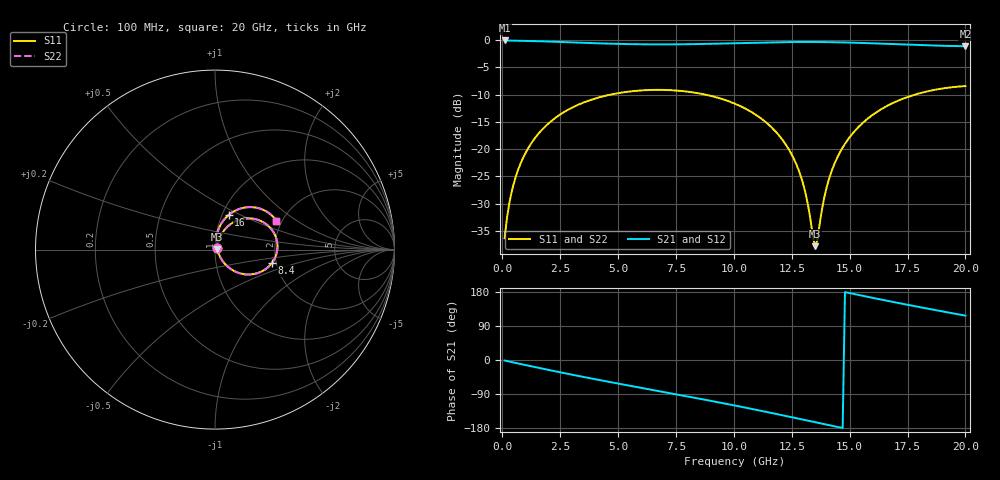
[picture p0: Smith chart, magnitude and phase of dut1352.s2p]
! Touchstone file exported from HFSS 2026.1.0
!  File:  C:/ffzhzh/LocalFiles/Ansys_Project_Files/temp_train_TSV_RDL_1352_1783340956_30076.aedt
!  Generated:  08:37:29 PM Jul  6, 2026
!  Design:  TSV_RDL
!  Project:  temp_train_TSV_RDL_1352_1783340956_30076
! Variables:
!  h_bsmrdl = 5.94um
!  h_ox = 20um
!  h_rdl = 5um
!  h_sub = 76.75um
!  h_tmrdl = 5.81um
!  h_tsv = 76.75um
!  h_via = 3um
!  l_bsmrdl = 138.56um
!  l_sub = 3945.7um
!  l_tmrdl = 751.56um
!  m_sub = 200um
!  pitch = 42.46um
!  r_tsv = 14.39um
!  s_tmrdl = 10um
!  w_bsmrdl = 20.89um
!  w_sub = 500um
!  w_tmrdl = 20.37um
!  x_tsv_center1 = 761.745um
!  x_tsv_center2 = 921.195um
!  x_tsv_center3 = 1693.125um
!  x_tsv_center4 = 1852.575um
!  x_tsv_center5 = 2624.505um
!  x_tsv_center6 = 2783.955um
# GHz S MA R 50.000000
! Terminal data exported
! Port[1] = TM_RDL1_1_T1
! Port[2] = TM_RDL5_1_T1
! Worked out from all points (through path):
!   200 points, 100 MHz to 20 GHz, reference 50 ohm
!   highest |S21| = -0.10 dB at 100 MHz (marker M1); lowest = -1.2 dB at 20 GHz (marker M2)
!   group delay of S21, straight-line fit = 33.7 ps
!   lowest |S11| = -37.8 dB at 13.5 GHz (marker M3), VSWR 1.03, Z = 51.3 + j0.107 ohm
!   |S11| at or under -10 dB: start of sweep to 4.692 GHz; 8.746 GHz to 17.84 GHz (9.092 GHz wide, 68.4 % of centre)
!   |S22| runs from -37.9 to -8.5 dB; largest |S21 - S12| = 1.7e-14
!   S11 on the Smith chart (normalised r, x): 100 MHz: 1.02, +0.02; 8.4 GHz: 1.90, -0.31; 16 GHz: 1.07, +0.43; 20 GHz: 1.87, +0.70
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0.1  0.01529 40.6  0.9886 -1.4  0.9886 -1.4  0.01529 40.6
! Gamma 0 0 0 0
! Port Impedance 50 0 50 0
0.3  0.03171 62.0  0.9867 -4.1  0.9867 -4.1  0.03171 62.0
0.5  0.04882 66.9  0.9852 -6.7  0.9852 -6.7  0.04882 66.9
1.1  0.1004 66.5  0.9796 -14.6  0.9796 -14.6  0.1004 66.5
2.1  0.1795 56.6  0.965 -27.5  0.965 -27.5  0.1795 56.6
3.5  0.2666 40.6  0.9407 -44.7  0.9407 -44.7  0.2666 40.6
6.8  0.3488 4.4  0.9095 -82.6  0.9095 -82.6  0.3488 4.4
8.4  0.3265 -13.0  0.9158 -100.8  0.9158 -100.8  0.3265 -13.0
10.1  0.2576 -31.8  0.9336 -120.8  0.9336 -120.8  0.2576 -31.8
11.4  0.1751 -46.1  0.9485 -136.9  0.9485 -136.9  0.1751 -46.1
12.4  0.09744 -55.1  0.9562 -149.7  0.9562 -149.7  0.09739 -55.2
13  0.04743 -54.6  0.958 -157.5  0.958 -157.5  0.04736 -54.8
13.2  0.03103 -48.5  0.958 -160.1  0.958 -160.1  0.03095 -48.7
13.4  0.0167 -25.5  0.9578 -162.7  0.9578 -162.7  0.01659 -25.6
13.5  0.01292 4.6  0.9576 -164.0  0.9576 -164.0  0.0128 4.7
13.6  0.01449 40.3  0.9572 -165.3  0.9572 -165.3  0.01439 40.6
14  0.04395 80.2  0.9553 -170.5  0.9553 -170.5  0.04395 80.3
14.4  0.07801 82.6  0.9522 -175.7  0.9522 -175.7  0.07803 82.7
15.1  0.1367 77.9  0.9442 175.3  0.9442 175.3  0.1367 77.9
16  0.2063 68.6  0.9305 163.9  0.9305 163.9  0.2064 68.7
16.7  0.2539 60.9  0.9184 155.3  0.9184 155.3  0.254 61.0
20  0.3778 25.1  0.8754 117.1  0.8754 117.1  0.3779 25.1
